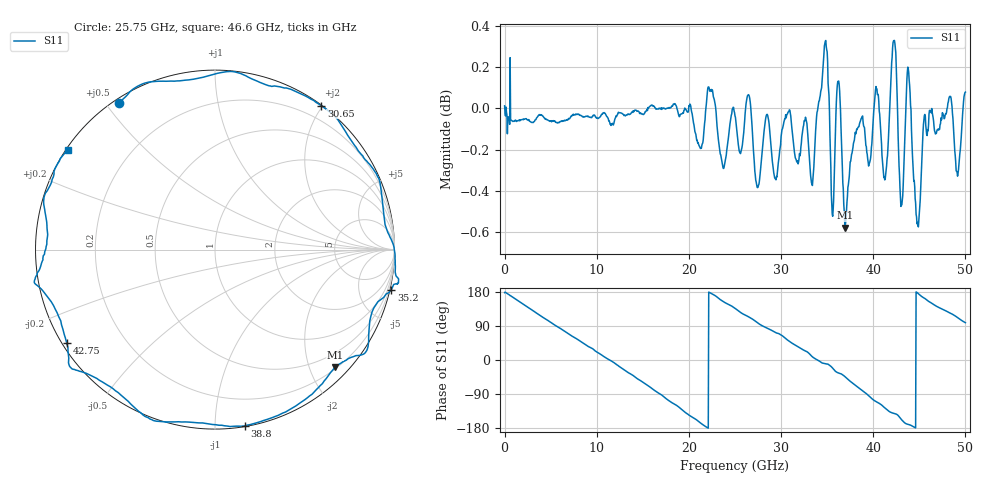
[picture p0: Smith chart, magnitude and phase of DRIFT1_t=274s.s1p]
!Created with skrf (http://scikit-rf.org).
# Hz S RI R 50.0
!freq ReS11 ImS11
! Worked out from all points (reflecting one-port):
!   1001 points, 300 kHz to 50 GHz, reference 50 ohm
!   lowest |S11| = -0.6 dB at 36.95 GHz (marker M1), VSWR 29.99, Z = 11.6 - j122 ohm
!   phase of S11 starts at 178 deg and turns -799 deg over the sweep
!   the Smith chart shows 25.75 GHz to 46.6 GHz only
!   S11 on the Smith chart (normalised r, x): 25.75 GHz: 0.01, +0.54; 30.65 GHz: 0.01, +1.98; 35.2 GHz: -0.29, -8.89; 38.8 GHz: 0.01, -1.18; 42.75 GHz: 0.01, -0.29; 46.6 GHz: 0.01, +0.31
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300000  -1.001 0.0405
1.75029e9  -0.8744 0.4716
3.650278e9  -0.5093 0.8559
6.250262e9  0.1715 0.9779
7.950252e9  0.5885 0.8045
9.850241e9  0.913 0.3966
1.250022e10  0.948 -0.3108
1.59002e10  0.282 -0.9612
1.875019e10  -0.5196 -0.8534
2.010018e10  -0.8408 -0.5458
2.205017e10  -1.011 -0.0164
2.500015e10  -0.7228 0.6851
2.575015e10  -0.5348 0.8191
2.840013e10  0.0835 0.9926
3.065012e10  0.5917 0.8021
3.125011e10  0.7153 0.6778
3.38501e10  0.9951 0.0223
3.520009e10  0.9822 -0.2236
3.605008e10  0.8528 -0.5397
3.695008e10  0.6682 -0.6546
3.750008e10  0.5405 -0.8062
3.880007e10  0.1662 -0.9815
4.045006e10  -0.3726 -0.9364
4.195005e10  -0.7651 -0.6737
4.275004e10  -0.8262 -0.5192
4.375004e10  -1.007 -0.1839
4.660002e10  -0.8178 0.5576
5e10  -0.1494 0.998
